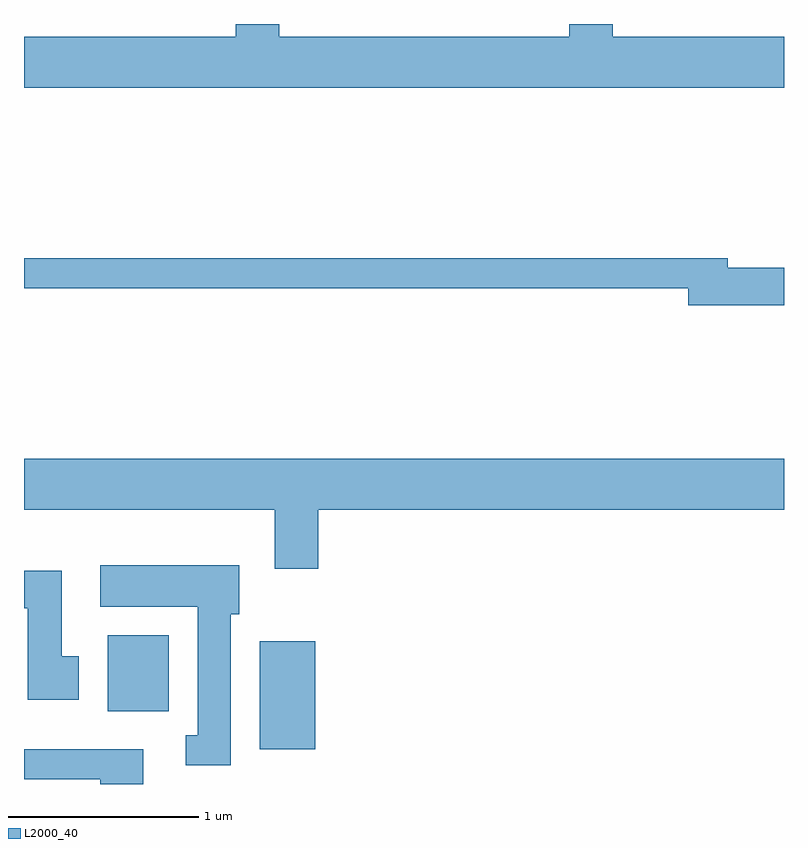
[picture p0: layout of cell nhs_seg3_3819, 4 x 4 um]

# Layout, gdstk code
import gdstk
lib = gdstk.Library(unit=1e-6, precision=1e-09)
def R(c, l, rs):  # rectangles x0, y0, x1, y1
    for r in rs: c.add(gdstk.rectangle(r[:2], r[2:], *l))
def P(c, l, *ps):  # polygons
    for p in ps: c.add(gdstk.Polygon(p, *l))
L2000_40 = (2000, 40)

nhs_seg3_3819 = lib.new_cell('nhs_seg3_3819')
R(nhs_seg3_3819, L2000_40, [(298.851,1138.076,299.144,1138.644), (298.051,1138.276,298.374,1138.674)])
P(nhs_seg3_3819, L2000_40, [(301.611,1141.824),(300.709,1141.824),(300.709,1141.892),(300.481,1141.892),(300.481,1141.824),(298.954,1141.824),(298.954,1141.892),(298.726,1141.892),(298.726,1141.824),(297.611,1141.824),(297.611,1141.556),(301.611,1141.556)],
  [(301.611,1140.609),(301.314,1140.609),(301.314,1140.659),(297.611,1140.659),(297.611,1140.501),(301.106,1140.501),(301.106,1140.411),(301.611,1140.411)],
  [(299.159,1139.336),(301.611,1139.336),(301.611,1139.604),(297.611,1139.604),(297.611,1139.336),(298.931,1139.336),(298.931,1139.026),(299.159,1139.026)],
  [(298.699,1138.786),(298.744,1138.786),(298.744,1139.044),(298.011,1139.044),(298.011,1138.826),(298.526,1138.826),(298.526,1138.149),(298.463,1138.149),(298.463,1137.991),(298.699,1137.991)],
  [(297.899,1138.564),(297.809,1138.564),(297.809,1139.014),(297.611,1139.014),(297.611,1138.816),(297.631,1138.816),(297.631,1138.336),(297.899,1138.336)],
  [(298.239,1138.074),(297.611,1138.074),(297.611,1137.916),(298.011,1137.916),(298.011,1137.892),(298.239,1137.892)])

lib.write_gds('nhs_seg3_3819.gds')
